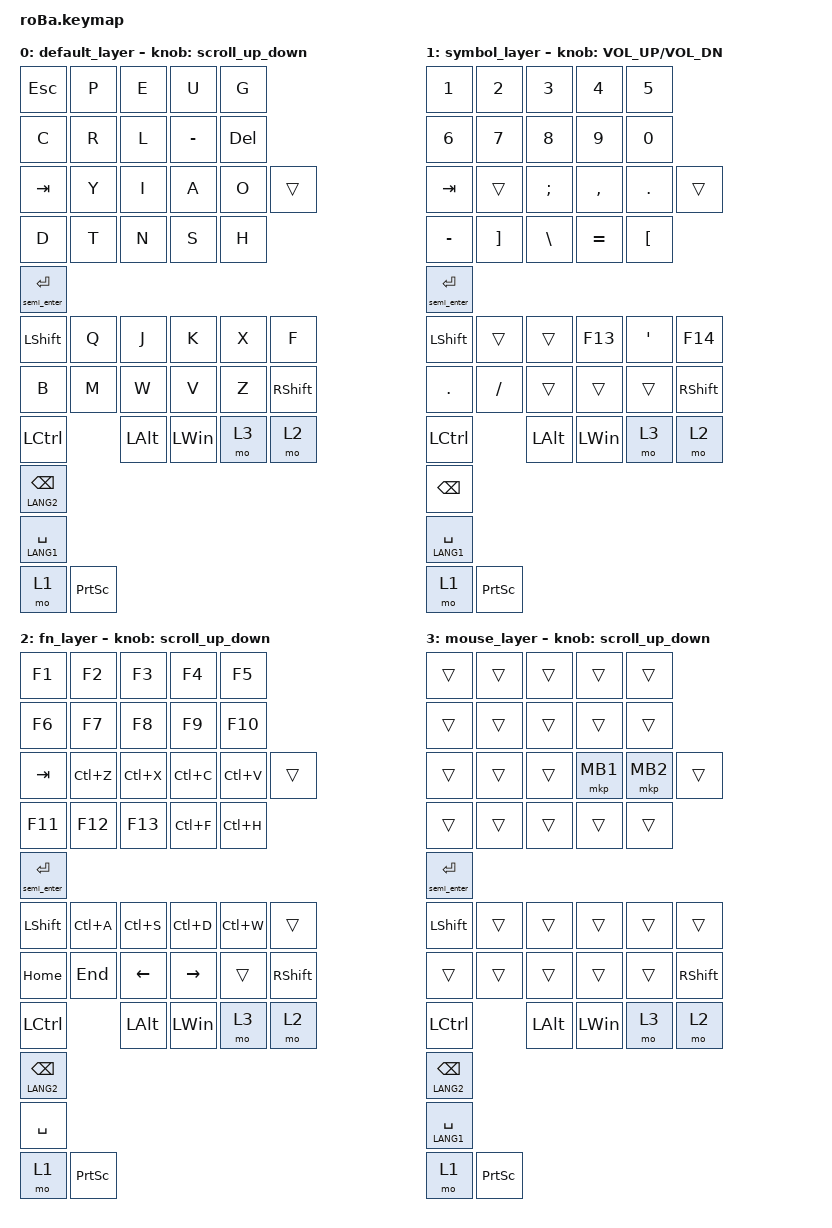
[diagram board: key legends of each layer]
#include <behaviors.dtsi>
#include <dt-bindings/zmk/keys.h>
#include <dt-bindings/zmk/pointing.h>

#define XXX &trans
#define ZMK_MOUSE_POINTING_SCRL_VAL 10

/ {
  macros {
    semi_enter: semi_enter {
      compatible = "zmk,behavior-macro";
      #binding-cells = <0>;
      tap-ms = <5>;
      wait-ms = <5>;
      bindings = <&kp SEMICOLON &kp ENTER>;
    };
  };

  behaviors {
    bspc_imeoff_ht: bspc_imeoff_ht {
      compatible = "zmk,behavior-hold-tap";
      #binding-cells = <2>;
      flavor = "tap-preferred";
      tapping-term-ms = <200>;
      bindings = <&kp &kp>;
    };

    space_imeon_ht: space_imeon_ht {
      compatible = "zmk,behavior-hold-tap";
      #binding-cells = <2>;
      flavor = "tap-preferred";
      tapping-term-ms = <200>;
      bindings = <&kp &kp>;
    };

    enter_semi_ht: enter_semi_ht {
      compatible = "zmk,behavior-hold-tap";
      #binding-cells = <2>;
      flavor = "tap-preferred";
      tapping-term-ms = <200>;
      /* hold = macro (引数なし), tap = &kp (引数あり) */
      bindings = <&semi_enter &kp>;
    };

    scroll_up_down: behavior_sensor_rotate_mouse_wheel_up_down {
      compatible = "zmk,behavior-sensor-rotate";
      #sensor-binding-cells = <0>;
      bindings = <&msc SCRL_DOWN>, <&msc SCRL_UP>;
      tap-ms = <1>;
    };
  };

  keymap {
    compatible = "zmk,keymap";

    default_layer {
      bindings = <
        /* row 0 (10) */
        &kp ESCAPE   &kp P       &kp E       &kp U       &kp G
        &kp C        &kp R       &kp L       &kp MINUS   &kp DEL

        /* row 1 (12) */
        &kp TAB      &kp Y       &kp I       &kp A       &kp O       &trans
        &kp D        &kp T       &kp N       &kp S       &kp H
        &enter_semi_ht 0 ENTER

        /* row 2 (12) */
        &kp LEFT_SHIFT   &kp Q       &kp J       &kp K       &kp X       &kp F
        &kp B            &kp M       &kp W       &kp V       &kp Z       &kp RIGHT_SHIFT

        /* row 3 (9) */
        &kp LEFT_CONTROL    &kp LEFT_ALT    &kp LEFT_WIN    &mo 3   &mo 2
        &bspc_imeoff_ht LANG2 BACKSPACE
        &space_imeon_ht LANG1 SPACE
        &mo 1 &kp PSCRN
      >;
      sensor-bindings = <&scroll_up_down>;
    };

    symbol_layer {
      bindings = <
        /* row 0 (10) */
        &kp N1    &kp N2    &kp N3    &kp N4    &kp N5
        &kp N6    &kp N7    &kp N8    &kp N9    &kp N0

        /* row 1 (12) */
        &kp TAB   &trans         &kp SEMICOLON  &kp COMMA   &kp DOT       &trans
        &kp MINUS &kp RBKT       &kp BACKSLASH  &kp EQUAL   &kp LBKT
        &enter_semi_ht 0 ENTER

        /* row 2 (12) */
        &kp LEFT_SHIFT  &trans     &trans         &kp F13    &kp SQT     &kp F14
        &kp DOT         &kp SLASH  &trans         &trans     &trans      &kp RIGHT_SHIFT

        /* row 3 (9) */
        &kp LEFT_CONTROL    &kp LEFT_ALT    &kp LEFT_WIN    &mo 3   &mo 2
        &kp BACKSPACE
        &space_imeon_ht LANG1 SPACE
        &mo 1 &kp PSCRN
      >;
      sensor-bindings = <&inc_dec_kp C_VOL_UP C_VOL_DN>;
    };

    fn_layer {
      bindings = <
        /* row 0 (10) */
        &kp F1   &kp F2   &kp F3   &kp F4   &kp F5
        &kp F6   &kp F7   &kp F8   &kp F9   &kp F10

        /* row 1 (12) */
        &kp TAB   &kp LC(Z)   &kp LC(X)   &kp LC(C)   &kp LC(V)   &trans
        &kp F11   &kp F12     &kp F13     &kp LC(F)   &kp LC(H)
        &enter_semi_ht 0 ENTER

        /* row 2 (12) */
        &kp LEFT_SHIFT  &kp LC(A) &kp LC(S) &kp LC(D)  &kp LC(W)    &trans
        &kp HOME        &kp END   &kp LEFT  &kp RIGHT  &trans       &kp RIGHT_SHIFT

        /* row 3 (9) */
        &kp LEFT_CONTROL    &kp LEFT_ALT    &kp LEFT_WIN    &mo 3   &mo 2
        &bspc_imeoff_ht LANG2 BACKSPACE
        &kp SPACE
        &mo 1 &kp PSCRN
      >;
      sensor-bindings = <&scroll_up_down>;
    };

    mouse_layer {
      bindings = <
        /* row 0 (10) */
        &trans &trans &trans &trans &trans
        &trans &trans &trans &trans &trans

        /* row 1 (12) */
        &trans  &trans  &trans  &mkp MB1  &mkp MB2  &trans
        &trans  &trans  &trans  &trans    &trans
        &enter_semi_ht 0 ENTER

        /* row 2 (12) */
        &kp LEFT_SHIFT &trans &trans &trans &trans &trans
        &trans &trans &trans &trans &trans &kp RIGHT_SHIFT

        /* row 3 (9) */
        &kp LEFT_CONTROL    &kp LEFT_ALT    &kp LEFT_WIN    &mo 3   &mo 2
        &bspc_imeoff_ht LANG2 BACKSPACE
        &space_imeon_ht LANG1 SPACE
        &mo 1 &kp PSCRN
      >;
      sensor-bindings = <&scroll_up_down>;
    };
  };
};
